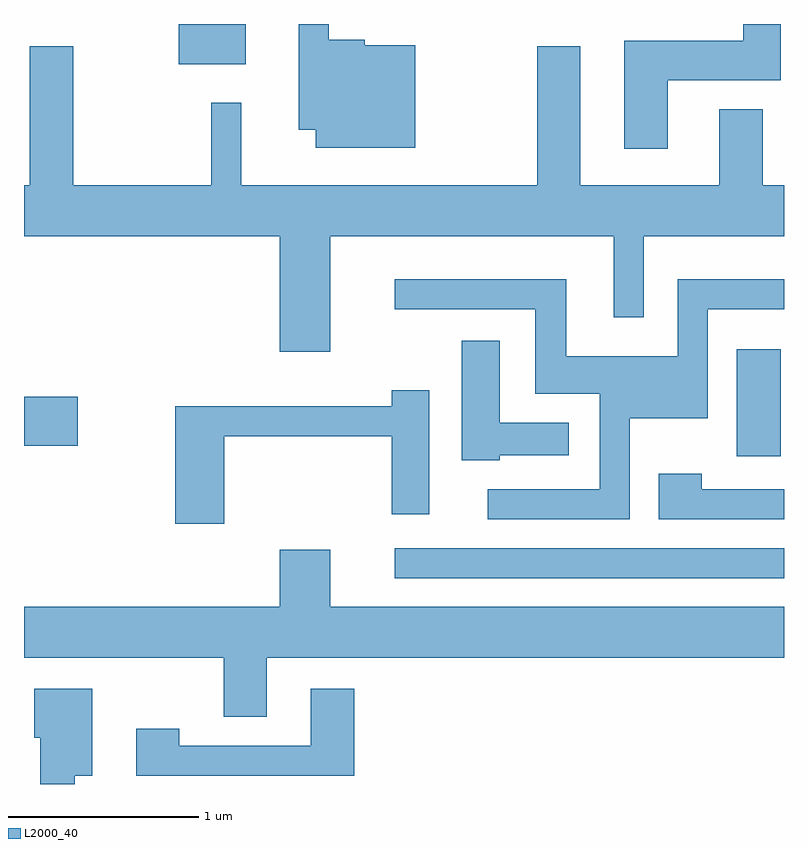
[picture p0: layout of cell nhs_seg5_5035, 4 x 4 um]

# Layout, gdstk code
import gdstk
lib = gdstk.Library(unit=1e-6, precision=1e-09)
def R(c, l, rs):  # rectangles x0, y0, x1, y1
    for r in rs: c.add(gdstk.rectangle(r[:2], r[2:], *l))
def P(c, l, *ps):  # polygons
    for p in ps: c.add(gdstk.Polygon(p, *l))
L2000_40 = (2000, 40)

nhs_seg5_5035 = lib.new_cell('nhs_seg5_5035')
R(nhs_seg5_5035, L2000_40, [(335.563,1517.156,337.611,1517.314), (337.361,1517.796,337.594,1518.359), (333.611,1517.851,333.894,1518.109), (334.426,1519.861,334.779,1520.072)])
P(nhs_seg5_5035, L2000_40, [(336.999,1519.776),(337.594,1519.776),(337.594,1520.072),(337.396,1520.072),(337.396,1519.984),(336.771,1519.984),(336.771,1519.416),(336.999,1519.416)],
  [(335.669,1519.959),(335.404,1519.959),(335.404,1519.989),(335.214,1519.989),(335.214,1520.072),(335.056,1520.072),(335.056,1519.516),(335.146,1519.516),(335.146,1519.421),(335.669,1519.421)],
  [(335.224,1518.956),(336.716,1518.956),(336.716,1518.528),(336.874,1518.528),(336.874,1518.956),(337.611,1518.956),(337.611,1519.224),(337.499,1519.224),(337.499,1519.624),(337.271,1519.624),(337.271,1519.224),(336.539,1519.224),(336.539,1519.954),(336.311,1519.954),(336.311,1519.224),(334.754,1519.224),(334.754,1519.658),(334.596,1519.658),(334.596,1519.224),(333.869,1519.224),(333.869,1519.954),(333.641,1519.954),(333.641,1519.224),(333.611,1519.224),(333.611,1518.956),(334.956,1518.956),(334.956,1518.346),(335.224,1518.346)],
  [(336.799,1517.996),(337.209,1517.996),(337.209,1518.571),(337.611,1518.571),(337.611,1518.729),(337.051,1518.729),(337.051,1518.324),(336.464,1518.324),(336.464,1518.729),(335.563,1518.729),(335.563,1518.571),(336.301,1518.571),(336.301,1518.126),(336.641,1518.126),(336.641,1517.624),(336.053,1517.624),(336.053,1517.466),(336.799,1517.466)],
  [(336.114,1517.801),(336.479,1517.801),(336.479,1517.974),(336.114,1517.974),(336.114,1518.404),(335.916,1518.404),(335.916,1517.776),(336.114,1517.776)],
  [(334.664,1517.901),(335.546,1517.901),(335.546,1517.491),(335.744,1517.491),(335.744,1518.144),(335.546,1518.144),(335.546,1518.059),(334.406,1518.059),(334.406,1517.441),(334.664,1517.441)],
  [(337.611,1517.624),(337.179,1517.624),(337.179,1517.704),(336.951,1517.704),(336.951,1517.466),(337.611,1517.466)],
  [(334.889,1516.736),(337.611,1516.736),(337.611,1517.004),(335.224,1517.004),(335.224,1517.304),(334.956,1517.304),(334.956,1517.004),(333.611,1517.004),(333.611,1516.736),(334.661,1516.736),(334.661,1516.426),(334.889,1516.426)],
  [(333.879,1516.116),(333.969,1516.116),(333.969,1516.574),(333.666,1516.574),(333.666,1516.316),(333.696,1516.316),(333.696,1516.072),(333.879,1516.072)],
  [(335.349,1516.574),(335.121,1516.574),(335.121,1516.274),(334.429,1516.274),(334.429,1516.364),(334.201,1516.364),(334.201,1516.116),(335.349,1516.116)])

lib.write_gds('nhs_seg5_5035.gds')
